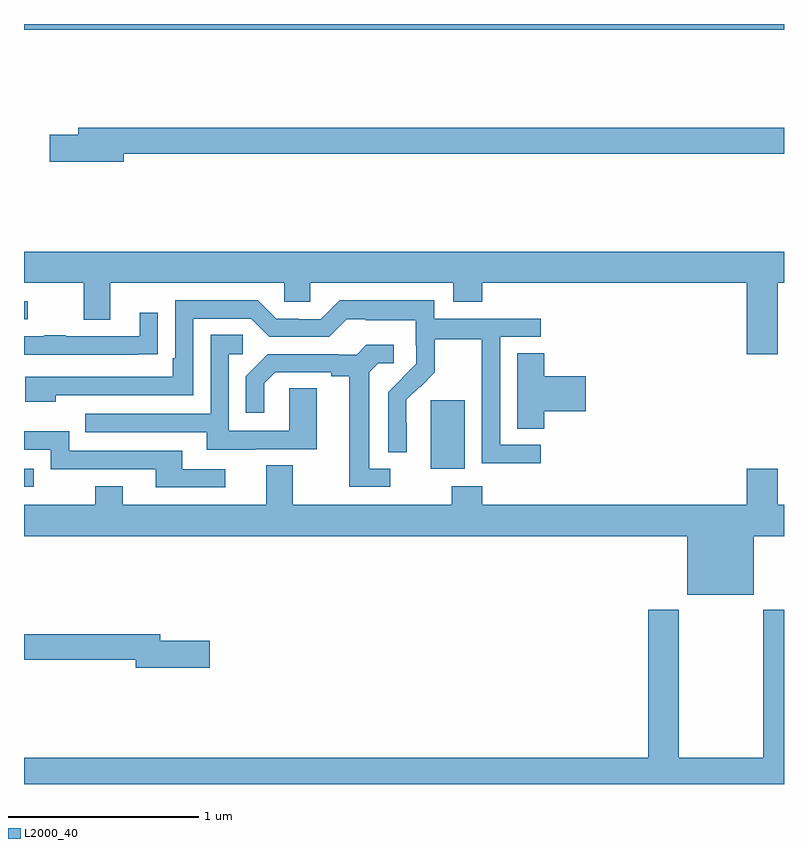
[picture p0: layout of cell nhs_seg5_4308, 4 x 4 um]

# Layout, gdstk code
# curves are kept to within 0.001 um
import gdstk
lib = gdstk.Library(unit=1e-6, precision=1e-09)
def R(c, l, rs):  # rectangles x0, y0, x1, y1
    for r in rs: c.add(gdstk.rectangle(r[:2], r[2:], *l))
def P(c, l, *ps):  # polygons
    for p in ps: c.add(gdstk.Polygon(p, *l))
L2000_40 = (2000, 40)

nhs_seg5_4308 = lib.new_cell('nhs_seg5_4308')
R(nhs_seg5_4308, L2000_40, [(365,846.363,365.05,846.459), (367.142,846.458,367.321,846.819), (365,847.245,365.02,847.341), (365,848.768,369,848.799)])
P(nhs_seg5_4308, L2000_40, [(365.524,848.116),(369,848.116),(369,848.252),(365.285,848.252),(365.285,848.216),(365.136,848.216),(365.136,848.074),(365.524,848.074)],
  [(368.968,847.436),(369,847.436),(369,847.6),(365,847.6),(365,847.436),(365.315,847.436),(365.315,847.242),(365.455,847.242),(365.455,847.436),(366.369,847.436),(366.369,847.338),(366.507,847.338),(366.507,847.436),(367.259,847.436),(367.259,847.337),(367.412,847.337),(367.412,847.436),(368.804,847.436),(368.804,847.062),(368.968,847.062)],
  [(367.72,846.585),(367.506,846.585),(367.506,847.152),(367.72,847.152),(367.72,847.248),(367.158,847.248),(367.158,847.345),(366.661,847.345),(366.561,847.245),(366.446,847.245),(366.446,847.248),(366.327,847.248),(366.231,847.344),(365.796,847.344),(365.796,847.039),(365.783,847.039),(365.783,846.942),(365.007,846.942),(365.007,846.812),(365.168,846.812),(365.168,846.846),(365.892,846.846),(365.892,847.248),(366.195,847.248),(366.291,847.152),(366.606,847.152),(366.699,847.245),(366.799,847.245),(366.799,847.241),(367.062,847.241),(367.062,847.107),(367.064,847.107),(367.064,847.01),(366.918,846.862),(366.918,846.544),(367.014,846.544),(367.013,846.821),(367.083,846.891),(367.086,846.888),(367.163,846.965),(367.163,847.14),(367.408,847.14),(367.408,846.916),(367.41,846.916),(367.41,846.487),(367.72,846.487)],
  [(365.603,847.06),(365.705,847.06),(365.705,847.279),(365.609,847.279),(365.609,847.155),(365.219,847.155),(365.219,847.16),(365.107,847.16),(365.107,847.155),(365,847.155),(365,847.059),(365.603,847.059)],
  [(366.217,846.561),(366.541,846.561),(366.541,846.881),(366.396,846.881),(366.396,846.657),(366.078,846.657),(366.078,847.062),(366.151,847.062),(366.151,847.163),(365.982,847.163),(365.982,846.747),(365.323,846.747),(365.323,846.651),(365.963,846.651),(365.963,846.557),(366.217,846.557)],
  [(366.928,846.459),(366.817,846.459),(366.817,846.967),(366.864,847.014),(366.946,847.014),(366.946,847.111),(366.802,847.111),(366.75,847.059),(366.656,847.059),(366.656,847.062),(366.284,847.062),(366.168,846.946),(366.168,846.753),(366.265,846.753),(366.265,846.909),(366.322,846.966),(366.617,846.966),(366.617,846.944),(366.713,846.944),(366.713,846.363),(366.928,846.363)],
  [(367.739,846.761),(367.957,846.761),(367.957,846.944),(367.739,846.944),(367.739,847.067),(367.595,847.067),(367.595,846.67),(367.739,846.67)],
  [(366.058,846.456),(365.833,846.456),(365.833,846.552),(365.238,846.552),(365.238,846.655),(365,846.655),(365,846.558),(365.142,846.558),(365.142,846.456),(365.693,846.456),(365.693,846.36),(366.058,846.36)],
  [(368.842,846.104),(369,846.104),(369,846.268),(368.968,846.268),(368.968,846.457),(368.804,846.457),(368.804,846.268),(367.412,846.268),(367.412,846.367),(367.252,846.367),(367.252,846.268),(366.415,846.268),(366.415,846.476),(366.275,846.476),(366.275,846.268),(365.521,846.268),(365.521,846.367),(365.374,846.367),(365.374,846.268),(365,846.268),(365,846.104),(368.492,846.104),(368.492,845.795),(368.842,845.795)],
  [(369,845.716),(368.89,845.716),(368.89,844.936),(368.445,844.936),(368.445,845.716),(368.285,845.716),(368.285,844.936),(365,844.936),(365,844.799),(369,844.799)],
  [(365.977,845.552),(365.716,845.552),(365.716,845.588),(365,845.588),(365,845.452),(365.588,845.452),(365.588,845.41),(365.977,845.41)])

lib.write_gds('nhs_seg5_4308.gds')
